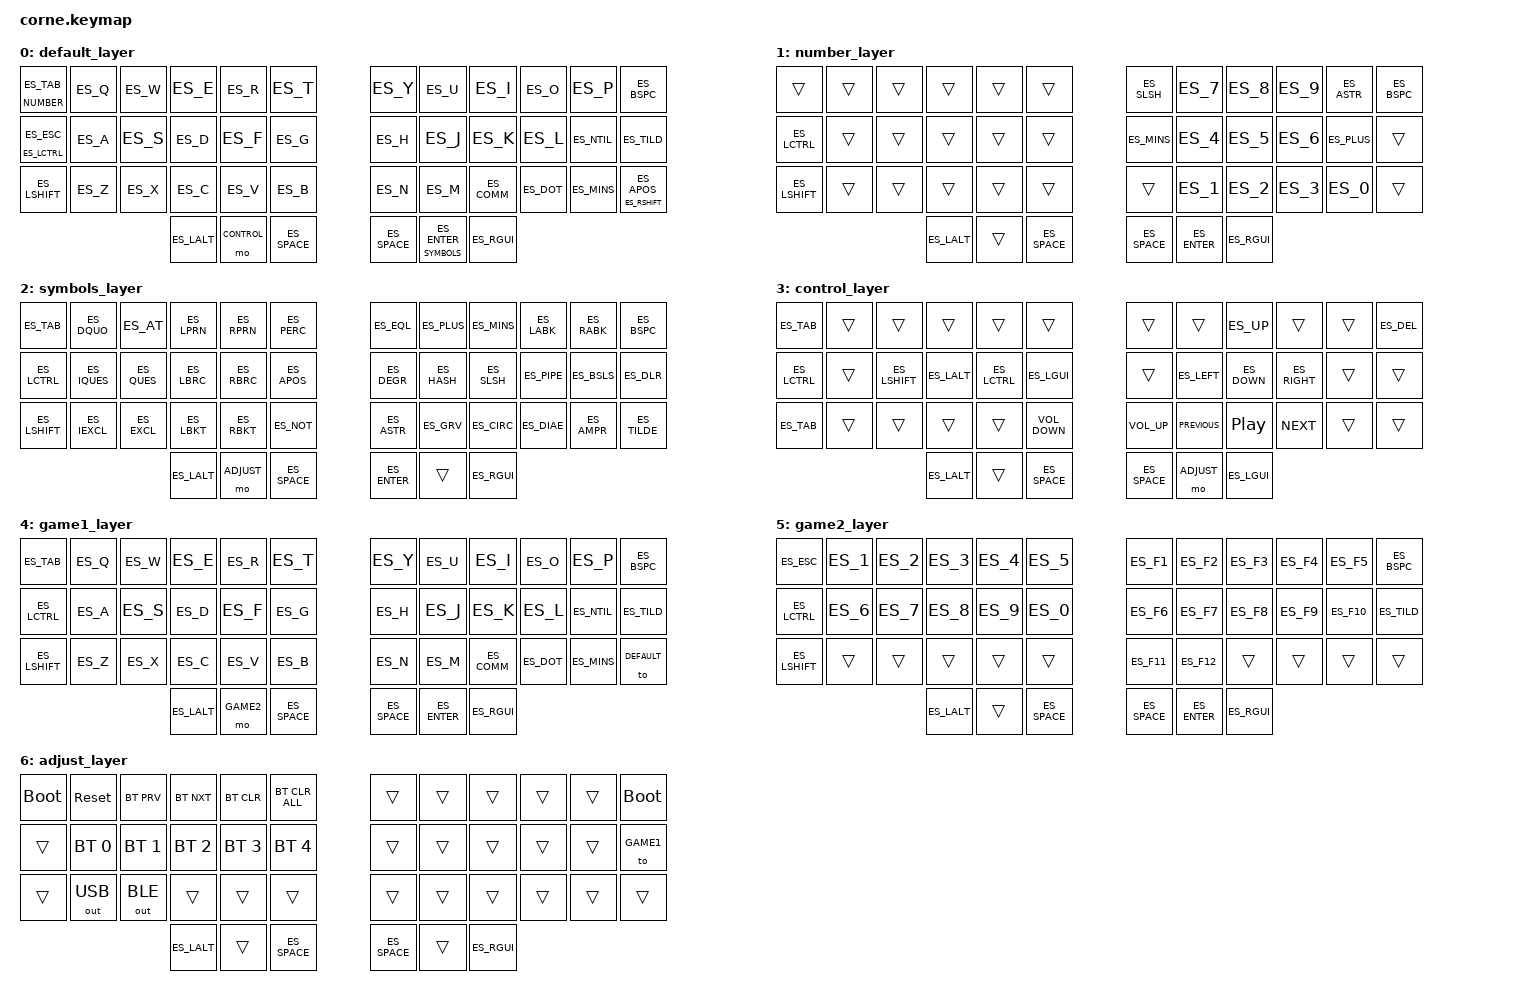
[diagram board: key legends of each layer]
/*
 * Copyright (c) 2020 The ZMK Contributors
 *
 * SPDX-License-Identifier: MIT
 */

#include <behaviors.dtsi>
#include <dt-bindings/zmk/keys.h>
#include <dt-bindings/zmk/bt.h>
#include <dt-bindings/zmk/outputs.h>
#include "es_la.h"

#define DEFAULT 0
#define NUMBER  1
#define SYMBOLS 2
#define CONTROL 3
#define GAME1   4
#define GAME2   5
#define ADJUST  6

/ {
        keymap{
                compatible = "zmk,keymap";
                default_layer {
                        bindings = <
                                &lt NUMBER ES_TAB    &kp ES_Q &kp ES_W &kp ES_E    &kp ES_R    &kp ES_T        &kp ES_Y      &kp ES_U             &kp ES_I     &kp ES_O   &kp ES_P    &kp ES_BSPC
                                &mt ES_LCTRL ES_ESC  &kp ES_A &kp ES_S &kp ES_D    &kp ES_F    &kp ES_G        &kp ES_H      &kp ES_J             &kp ES_K     &kp ES_L   &kp ES_NTIL &kp ES_TILD
                                &kp ES_LSHIFT        &kp ES_Z &kp ES_X &kp ES_C    &kp ES_V    &kp ES_B        &kp ES_N      &kp ES_M             &kp ES_COMM  &kp ES_DOT &kp ES_MINS &mt ES_RSHIFT ES_APOS
                                                                      &kp ES_LALT &mo CONTROL &kp ES_SPACE   &kp ES_SPACE &lt SYMBOLS ES_ENTER &kp ES_RGUI
                        >;
                };

                number_layer {
                        bindings = <
                                &trans        &trans &trans &trans      &trans &trans          &kp ES_SLSH   &kp ES_7     &kp ES_8    &kp ES_9 &kp ES_ASTR &kp ES_BSPC
                                &kp ES_LCTRL  &trans &trans &trans      &trans &trans          &kp ES_MINS   &kp ES_4     &kp ES_5    &kp ES_6 &kp ES_PLUS &trans
                                &kp ES_LSHIFT &trans &trans &trans      &trans &trans          &trans        &kp ES_1     &kp ES_2    &kp ES_3 &kp ES_0    &trans
                                                           &kp ES_LALT &trans &kp ES_SPACE   &kp ES_SPACE &kp ES_ENTER &kp ES_RGUI 
                        >;

                };

                symbols_layer {
                        bindings = <
                                &kp ES_TAB    &kp ES_DQUO  &kp ES_AT   &kp ES_LPRN &kp ES_RPRN  &kp ES_PERC     &kp ES_EQL  &kp ES_PLUS &kp ES_MINS &kp ES_LABK &kp ES_RABK &kp ES_BSPC
                                &kp ES_LCTRL  &kp ES_IQUES &kp ES_QUES &kp ES_LBRC &kp ES_RBRC &kp ES_APOS     &kp ES_DEGR  &kp ES_HASH &kp ES_SLSH  &kp ES_PIPE &kp ES_BSLS &kp ES_DLR
                                &kp ES_LSHIFT &kp ES_IEXCL &kp ES_EXCL &kp ES_LBKT &kp ES_RBKT  &kp ES_NOT      &kp ES_ASTR &kp ES_GRV  &kp ES_CIRC  &kp ES_DIAE &kp ES_AMPR &kp ES_TILDE
                                                                      &kp ES_LALT &mo ADJUST   &kp ES_SPACE   &kp ES_ENTER &trans &kp ES_RGUI
                        >;
                };

                control_layer {
                        bindings = <
                                &kp ES_TAB   &trans &trans       &trans      &trans       &trans              &trans        &trans         &kp ES_UP        &trans       &trans &kp ES_DEL
                                &kp ES_LCTRL &trans &kp ES_LSHIFT &kp ES_LALT &kp ES_LCTRL &kp ES_LGUI         &trans        &kp ES_LEFT    &kp ES_DOWN       &kp ES_RIGHT &trans &trans
                                &kp ES_TAB   &trans &trans       &trans      &trans       &kp C_VOLUME_DOWN        &kp C_VOLUME_UP  &kp C_PREVIOUS &kp C_PLAY_PAUSE &kp C_NEXT   &trans &trans
                                                                 &kp ES_LALT &trans       &kp ES_SPACE       &kp ES_SPACE &mo ADJUST     &kp ES_LGUI
                        >;
                };

                game1_layer {
                        bindings = <
                                &kp ES_TAB    &kp ES_Q &kp ES_W &kp ES_E    &kp ES_R    &kp ES_T        &kp ES_Y      &kp ES_U     &kp ES_I     &kp ES_O   &kp ES_P    &kp ES_BSPC
                                &kp ES_LCTRL  &kp ES_A &kp ES_S &kp ES_D    &kp ES_F    &kp ES_G        &kp ES_H      &kp ES_J     &kp ES_K     &kp ES_L   &kp ES_NTIL &kp ES_TILD
                                &kp ES_LSHIFT &kp ES_Z &kp ES_X &kp ES_C    &kp ES_V    &kp ES_B        &kp ES_N      &kp ES_M     &kp ES_COMM  &kp ES_DOT &kp ES_MINS &to DEFAULT
                                                               &kp ES_LALT &mo GAME2   &kp ES_SPACE   &kp ES_SPACE &kp ES_ENTER &kp ES_RGUI
                        >;
                };

                game2_layer {
                        bindings = <
                                &kp ES_ESC    &kp ES_1 &kp ES_2 &kp ES_3    &kp ES_4    &kp ES_5        &kp ES_F1      &kp ES_F2    &kp ES_F3     &kp ES_F4   &kp ES_F5    &kp ES_BSPC
                                &kp ES_LCTRL  &kp ES_6 &kp ES_7 &kp ES_8    &kp ES_9    &kp ES_0        &kp ES_F6      &kp ES_F7    &kp ES_F8     &kp ES_F9   &kp ES_F10   &kp ES_TILD
                                &kp ES_LSHIFT &trans   &trans   &trans      &trans      &trans          &kp ES_F11     &kp ES_F12   &trans        &trans      &trans       &trans
                                                                &kp ES_LALT &trans      &kp ES_SPACE    &kp ES_SPACE   &kp ES_ENTER &kp ES_RGUI
                        >;
                };

                adjust_layer {
                        bindings = <
                                &bootloader &sys_reset   &bt BT_PRV   &bt BT_NXT   &bt BT_CLR   &bt BT_CLR_ALL     &trans        &trans &trans &trans &trans &bootloader
                                &trans      &bt BT_SEL 0 &bt BT_SEL 1 &bt BT_SEL 2 &bt BT_SEL 3 &bt BT_SEL 4       &trans        &trans &trans &trans &trans &to GAME1   
                                &trans      &out OUT_USB &out OUT_BLE &trans       &trans       &trans             &trans        &trans &trans &trans &trans &trans  
                                                                      &kp ES_LALT  &trans       &kp ES_SPACE      &kp ES_SPACE &trans &kp ES_RGUI
                        >;      
                };      
        };
};

&nice_view_spi {
    cs-gpios = <&pro_micro 0 GPIO_ACTIVE_HIGH>;
};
